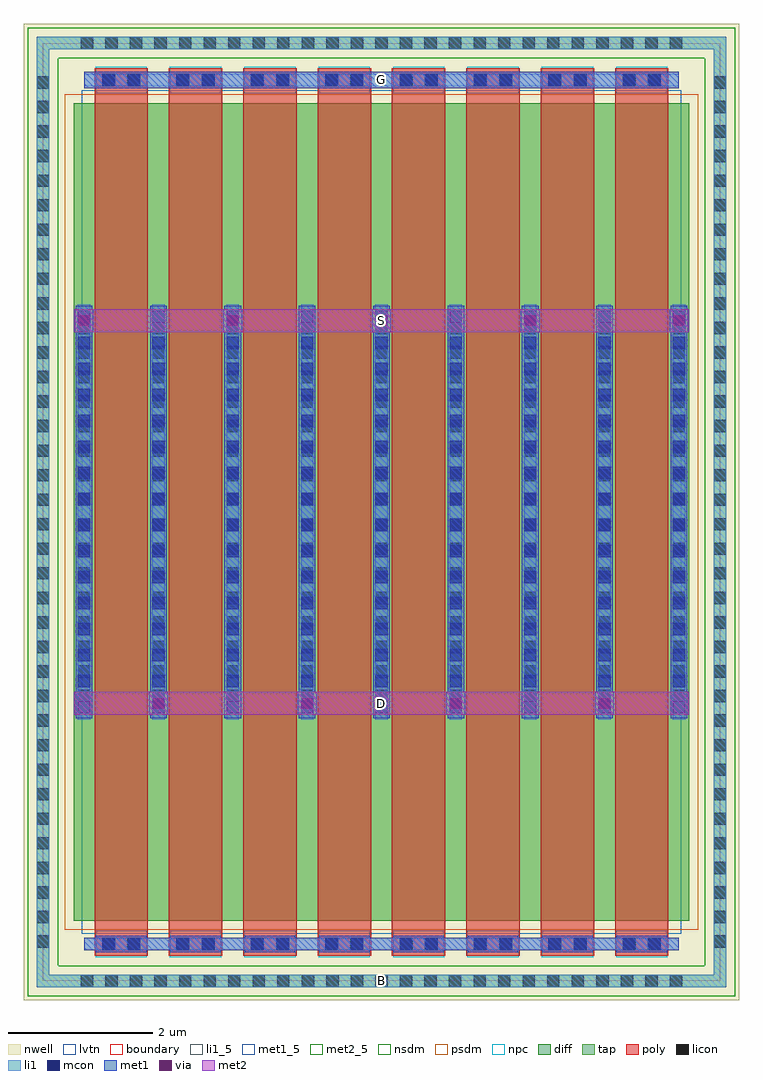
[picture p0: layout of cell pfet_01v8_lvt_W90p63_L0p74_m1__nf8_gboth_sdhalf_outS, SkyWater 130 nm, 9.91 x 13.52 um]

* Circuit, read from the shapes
.subckt pfet_01v8_lvt_W90p63_L0p74_m1__nf8_gboth_sdhalf_outS B D G S
XM1 D G S B sky130_fd_pr__pfet_01v8_lvt w=11.33 l=0.74 m=8
.ends

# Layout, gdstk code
import gdstk
lib = gdstk.Library(unit=1e-6, precision=1e-09)
def R(c, l, rs):  # rectangles x0, y0, x1, y1
    for r in rs: c.add(gdstk.rectangle(r[:2], r[2:], *l))
def A(c, l, x, y, w, h, nx, ny, dx, dy):  # array of equal rectangles
    R(c, l, [(x+i*dx, y+j*dy, x+i*dx+w, y+j*dy+h) for i in range(nx) for j in range(ny)])
nwell = (64, 20)
diff = (65, 20)
tap = (65, 44)
poly = (66, 20)
licon = (66, 44)
li1_5 = (67, 5)
li1 = (67, 20)
mcon = (67, 44)
met1_5 = (68, 5)
met1 = (68, 20)
via = (68, 44)
met2_5 = (69, 5)
met2 = (69, 20)
nsdm = (93, 44)
psdm = (94, 20)
npc = (95, 20)
lvtn = (125, 44)
boundary = (235, 4)

sky130_fd_pr__pfet_01v8_ = lib.new_cell('sky130_fd_pr__pfet_01v8_lvt_F7QJ8D')
R(sky130_fd_pr__pfet_01v8_, nwell, [(-4.955,-6.76,4.955,6.76)])
R(sky130_fd_pr__pfet_01v8_, diff, [(-4.265,-5.665,4.265,5.665)])
R(sky130_fd_pr__pfet_01v8_, tap, [(-4.775,-6.58,4.775,-6.41), (-4.775,-6.41,-4.605,6.41), (4.605,-6.41,4.775,6.41), (-4.775,6.41,4.775,6.58)])
A(sky130_fd_pr__pfet_01v8_, poly, -3.975, -6.15, 0.74, 12.3, 8, 1, 1.03, 0)
A(sky130_fd_pr__pfet_01v8_, licon, -4.165, -6.58, 0.17, 0.17, 25, 2, 0.34, 12.99)
A(sky130_fd_pr__pfet_01v8_, licon, -4.775, -6.035, 0.17, 0.17, 1, 36, 0, 0.34)
A(sky130_fd_pr__pfet_01v8_, licon, 4.605, -6.035, 0.17, 0.17, 1, 36, 0, 0.34)
A(sky130_fd_pr__pfet_01v8_, licon, -4.205, -2.635, 0.17, 0.17, 9, 16, 1.03, 0.34)
R(sky130_fd_pr__pfet_01v8_, licon, [(-3.86,-6.07,-3.69,-5.9), (-3.52,-6.07,-3.35,-5.9), (-2.83,-6.07,-2.66,-5.9), (-2.49,-6.07,-2.32,-5.9), (-1.8,-6.07,-1.63,-5.9), (-1.46,-6.07,-1.29,-5.9), (-0.77,-6.07,-0.6,-5.9), (-0.43,-6.07,-0.26,-5.9), (0.26,-6.07,0.43,-5.9), (0.6,-6.07,0.77,-5.9), (1.29,-6.07,1.46,-5.9), (1.63,-6.07,1.8,-5.9), (2.32,-6.07,2.49,-5.9), (2.66,-6.07,2.83,-5.9), (3.35,-6.07,3.52,-5.9), (3.69,-6.07,3.86,-5.9), (-3.86,5.9,-3.69,6.07), (-3.52,5.9,-3.35,6.07), (-2.83,5.9,-2.66,6.07), (-2.49,5.9,-2.32,6.07), (-1.8,5.9,-1.63,6.07), (-1.46,5.9,-1.29,6.07), (-0.77,5.9,-0.6,6.07), (-0.43,5.9,-0.26,6.07), (0.26,5.9,0.43,6.07), (0.6,5.9,0.77,6.07), (1.29,5.9,1.46,6.07), (1.63,5.9,1.8,6.07), (2.32,5.9,2.49,6.07), (2.66,5.9,2.83,6.07), (3.35,5.9,3.52,6.07), (3.69,5.9,3.86,6.07)])
A(sky130_fd_pr__pfet_01v8_, li1, -4.205, -2.88, 0.17, 5.76, 9, 1, 1.03, 0)
R(sky130_fd_pr__pfet_01v8_, li1, [(-4.775,-6.58,4.775,-6.41), (-4.775,-6.41,-4.605,6.41), (4.605,-6.41,4.775,6.41), (-4.12,-6.07,4.12,-5.9), (-4.12,5.9,4.12,6.07), (-4.775,6.41,4.775,6.58)])
A(sky130_fd_pr__pfet_01v8_, mcon, -4.205, -2.785, 0.17, 0.17, 9, 16, 1.03, 0.36)
R(sky130_fd_pr__pfet_01v8_, mcon, [(-3.87,-6.07,-3.7,-5.9), (-3.51,-6.07,-3.34,-5.9), (-2.84,-6.07,-2.67,-5.9), (-2.48,-6.07,-2.31,-5.9), (-1.81,-6.07,-1.64,-5.9), (-1.45,-6.07,-1.28,-5.9), (-0.78,-6.07,-0.61,-5.9), (-0.42,-6.07,-0.25,-5.9), (0.25,-6.07,0.42,-5.9), (0.61,-6.07,0.78,-5.9), (1.28,-6.07,1.45,-5.9), (1.64,-6.07,1.81,-5.9), (2.31,-6.07,2.48,-5.9), (2.67,-6.07,2.84,-5.9), (3.34,-6.07,3.51,-5.9), (3.7,-6.07,3.87,-5.9), (-3.87,5.9,-3.7,6.07), (-3.51,5.9,-3.34,6.07), (-2.84,5.9,-2.67,6.07), (-2.48,5.9,-2.31,6.07), (-1.81,5.9,-1.64,6.07), (-1.45,5.9,-1.28,6.07), (-0.78,5.9,-0.61,6.07), (-0.42,5.9,-0.25,6.07), (0.25,5.9,0.42,6.07), (0.61,5.9,0.78,6.07), (1.28,5.9,1.45,6.07), (1.64,5.9,1.81,6.07), (2.31,5.9,2.48,6.07), (2.67,5.9,2.84,6.07), (3.34,5.9,3.51,6.07), (3.7,5.9,3.87,6.07)])
A(sky130_fd_pr__pfet_01v8_, met1, -3.955, -6.1, 0.7, 0.03, 8, 2, 1.03, 0.2)
A(sky130_fd_pr__pfet_01v8_, met1, -4.235, -2.86, 0.23, 5.72, 9, 1, 1.03, 0)
A(sky130_fd_pr__pfet_01v8_, met1, -3.955, 5.87, 0.7, 0.03, 8, 2, 1.03, 0.2)
R(sky130_fd_pr__pfet_01v8_, met1, [(-4.12,-6.07,4.12,-5.9), (-4.12,5.9,4.12,6.07)])
R(sky130_fd_pr__pfet_01v8_, nsdm, [(-4.9,-6.705,4.9,-6.285), (-4.9,-6.285,-4.48,6.285), (4.48,-6.285,4.9,6.285), (-4.9,6.285,4.9,6.705)])
R(sky130_fd_pr__pfet_01v8_, psdm, [(-4.39,-5.79,4.39,5.79)])
A(sky130_fd_pr__pfet_01v8_, npc, -3.96, -6.17, 0.71, 0.37, 8, 2, 1.03, 11.97)
R(sky130_fd_pr__pfet_01v8_, lvtn, [(-4.155,-5.845,4.155,5.845)])
R(sky130_fd_pr__pfet_01v8_, boundary, [(-4.69,-6.495,4.69,6.495)])
sky130_fd_pr__pfet_01v8_.add(gdstk.Label('B', (0,-6.495), layer=67, texttype=5))
sky130_fd_pr__pfet_01v8_.add(gdstk.Label('D0', (-4.12,0), layer=67, texttype=5))
sky130_fd_pr__pfet_01v8_.add(gdstk.Label('G', (3.605,5.985), layer=67, texttype=5))
sky130_fd_pr__pfet_01v8_.add(gdstk.Label('G', (2.575,5.985), layer=67, texttype=5))
sky130_fd_pr__pfet_01v8_.add(gdstk.Label('G', (1.545,5.985), layer=67, texttype=5))
sky130_fd_pr__pfet_01v8_.add(gdstk.Label('G', (0.515,5.985), layer=67, texttype=5))
sky130_fd_pr__pfet_01v8_.add(gdstk.Label('G', (-0.515,5.985), layer=67, texttype=5))
sky130_fd_pr__pfet_01v8_.add(gdstk.Label('G', (-1.545,5.985), layer=67, texttype=5))
sky130_fd_pr__pfet_01v8_.add(gdstk.Label('G', (-2.575,5.985), layer=67, texttype=5))
sky130_fd_pr__pfet_01v8_.add(gdstk.Label('G', (-3.605,5.985), layer=67, texttype=5))
sky130_fd_pr__pfet_01v8_.add(gdstk.Label('S1', (-3.09,0), layer=67, texttype=5))
sky130_fd_pr__pfet_01v8_.add(gdstk.Label('D2', (-2.06,0), layer=67, texttype=5))
sky130_fd_pr__pfet_01v8_.add(gdstk.Label('S3', (-1.03,0), layer=67, texttype=5))
sky130_fd_pr__pfet_01v8_.add(gdstk.Label('D4', (0,0), layer=67, texttype=5))
sky130_fd_pr__pfet_01v8_.add(gdstk.Label('S5', (1.03,0), layer=67, texttype=5))
sky130_fd_pr__pfet_01v8_.add(gdstk.Label('D6', (2.06,0), layer=67, texttype=5))
sky130_fd_pr__pfet_01v8_.add(gdstk.Label('S7', (3.09,0), layer=67, texttype=5))

pfet_01v8_lvt_w90p63_l0p = lib.new_cell('pfet_01v8_lvt_W90p63_L0p74_m1__nf8_gboth_sdhalf_outS')
R(pfet_01v8_lvt_w90p63_l0p, li1_5, [(4.605,-0.085,4.775,0.085)])
R(pfet_01v8_lvt_w90p63_l0p, li1, [(4.605,-0.085,4.775,0.085)])
R(pfet_01v8_lvt_w90p63_l0p, met1_5, [(0.57,12.365,8.81,12.595)])
A(pfet_01v8_lvt_w90p63_l0p, met1, 1.47, 3.685, 0.26, 0.32, 4, 1, 2.06, 0)
A(pfet_01v8_lvt_w90p63_l0p, met1, 0.44, 8.985, 0.26, 0.32, 5, 1, 2.06, 0)
R(pfet_01v8_lvt_w90p63_l0p, met1, [(0.57,12.365,8.81,12.595)])
A(pfet_01v8_lvt_w90p63_l0p, via, 1.525, 3.77, 0.15, 0.15, 4, 1, 2.06, 0)
A(pfet_01v8_lvt_w90p63_l0p, via, 0.495, 9.07, 0.15, 0.15, 5, 1, 2.06, 0)
R(pfet_01v8_lvt_w90p63_l0p, met2_5, [(0.435,3.685,8.945,4.005), (0.435,8.985,8.945,9.305)])
R(pfet_01v8_lvt_w90p63_l0p, met2, [(0.435,3.685,8.945,4.005), (0.435,8.985,8.945,9.305)])
pfet_01v8_lvt_w90p63_l0p.add(gdstk.Reference(sky130_fd_pr__pfet_01v8_, (4.69,6.495)))
pfet_01v8_lvt_w90p63_l0p.add(gdstk.Label('S', (4.69,9.145), layer=69, texttype=5))
pfet_01v8_lvt_w90p63_l0p.add(gdstk.Label('D', (4.69,3.845), layer=69, texttype=5))
pfet_01v8_lvt_w90p63_l0p.add(gdstk.Label('G', (4.69,12.48), layer=68, texttype=5))
pfet_01v8_lvt_w90p63_l0p.add(gdstk.Label('B', (4.69,0), layer=67, texttype=5))

lib.write_gds('pfet_01v8_lvt_W90p63_L0p74_m1__nf8_gboth_sdhalf_outS.gds')
